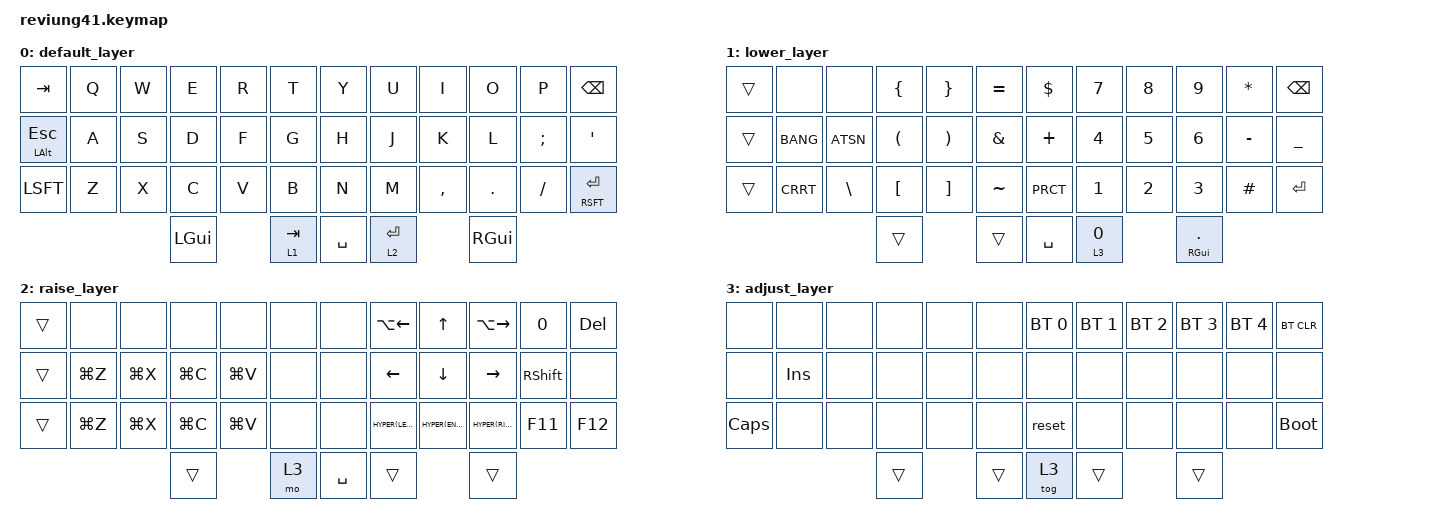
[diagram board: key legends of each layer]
/*
 * Copyright (c) 2020 The ZMK Contributors
 *
 * SPDX-License-Identifier: MIT
 */

#include <behaviors.dtsi>
#include <dt-bindings/zmk/keys.h>
#include <dt-bindings/zmk/bt.h>
#include <dt-bindings/zmk/rgb.h>

#define HYPER(code) LC(LS(LA(LG(code))))

/
{
    behaviors {
        hm: homerow_mods {
            compatible = "zmk,behavior-hold-tap";
            label = "HOMEROW_MODS";
            #binding-cells = <2>;
            tapping-term-ms = <185>;
            quick_tap_ms = <0>;
            flavor = "tap-preferred";
            bindings = <&kp>, <&kp>;
        };
        
         lr: layer_return {
            compatible = "zmk,behavior-hold-tap";
            label = "LAYER_RETURN";
            #binding-cells = <2>;
            tapping-term-ms = <200>;
            flavor = "hold-preferred";
            quick_tap_ms = <200>;
            bindings = <&mo>, <&kp>;
        };
        
    };


        keymap {
                compatible = "zmk,keymap";

                default_layer {
// -------------------------------------------------------------------------------------
// |  TAB |  Q  |  W  |  E  |  R  |  T  |   |  Y  |  U   |  I  |  O  |  P  |   BKSP    |
// | ALT(ESC) |  A  |  S  |  D  |  F  |  G  |   |  H  |  J   |  K  |  L  |  ;  | ' |
// | SHFT |  Z  |  X  |  C  |  V  |  B  |   |  N  |  M   |  ,  |  .  |  /  | SHFT(RET) |
//                         | CMD | LWR | SPC | RSE  | CMD |
                        bindings = <
   &kp TAB  &kp Q &kp W &kp E &kp R &kp T   &kp Y &kp U  &kp I    &kp O   &kp P    &kp BKSP
   &mt LALT ESC &kp A &kp S &kp D &kp F &kp G   &kp H &kp J  &kp K    &kp L   &kp SCLN &kp QUOT
   &kp LSFT &kp Z &kp X &kp C &kp V &kp B   &kp N &kp M  &kp CMMA &kp DOT &kp FSLH &mt RSFT RET
                        &kp LGUI  &lr 1 TAB &kp SPC  &lr 2 RET &kp RGUI
                        >;
                };

                lower_layer {
// ----------------------------------------------------------------------------------
// |    |     |     |  {  |  }  |  =  |   |  $  |  7  |  8  |  9  |  *  |     |
// |    |  !  |  @  |  (  |  )  |  &  |   |  +  |  4  |  5  |  6  |  -  |  _  |
// |    |  ^  |  \  |  [  |  ]  |  ~  |   |  %  |  1  |  2  |  3  |  #  | RTN |
//                       |     |     | SPC | ADJ(0) | cmd(.)    |
//                    
//  OLD SHIT FOR REFERENCE
//   bindings = <
//   &trans &kp NUM_1 &kp NUM_2 &kp NUM_3 &kp NUM_4 &kp NUM_5     &kp NUM_6 &kp NUM_7 &kp NUM_8 &kp NUM_9 &kp NUM_0 &kp BKSP
//   &trans &kp BANG  &kp ATSN &kp HASH &kp DLLR &kp PRCT         &kp CRRT &kp AMPS &kp STAR &kp LPRN &kp RPRN &kp MINUS
//   &trans &trans &kp BSLH &kp PIPE &kp LBKT &kp RBKT            &trans &kp EQUAL &kp PLUS  &kp DOT &kp TILDE &kp UNDER
 //                             &trans      &trans       &kp RET        &mt 3 NUM_0       &trans
 //                       >;
  //              };

                bindings = <
   &trans &none     &none      &kp LBRC &kp RBRC &kp EQUAL         &kp DLLR &kp NUM_7 &kp NUM_8 &kp NUM_9 &kp STAR &kp BKSP
   &trans &kp BANG  &kp ATSN   &kp LPRN &kp RPRN &kp AMPS         &kp PLUS &kp NUM_4 &kp NUM_5 &kp NUM_6 &kp MINUS &kp UNDER
   &trans &kp CRRT  &kp BSLH  &kp LBKT &kp RBKT &kp TILDE        &kp PRCT &kp NUM_1 &kp NUM_2  &kp NUM_3 &kp HASH &kp RET
                              &trans      &trans       &kp SPC        &lt 3 NUM_0       &mt RGUI DOT
                        >;
                };

                raise_layer {
// -----------------------------------------------------------------------------------------
// |    |     |     |     |     |     |   |     | A(L)|  UP | A(R) |     | DEL |
// |    |Undo | Cut | copy|paste|     |   |     | L   |   D |  R   |shift|     |
// |    |     |     |     |     |     |   |     | H(L)| H(Rtn)|H(R)|     |     |
//                       |     | ADJ | SPACE |    |     |
                        bindings = <
   &trans &none      &none      &none      &none         &none         &none &kp LA(LEFT) &kp UP &kp LA(RIGHT) &kp NUM_0 &kp DEL
   &trans &kp LG(Z)  &kp LG(X)  &kp LG(C)  &kp LG(V)     &none         &none    &kp LEFT    &kp DOWN    &kp RIGHT   &kp RSHFT    &none
   &trans &kp LG(Z)  &kp LG(X)  &kp LG(C)  &kp LG(V)     &none         &none    &kp HYPER(LEFT)   &kp HYPER(ENTER)  &kp  HYPER(RIGHT)  &kp F11   &kp F12
                                &trans      &mo 3       &kp SPC        &trans      &trans
                        >;
                };

                adjust_layer {
// -----------------------------------------------------------------------------------------
// |          |          |          |          |    |         |   |  BT1  | BT2 | BT3 | BT4 | BT5 | BT CLR |
// |          |INSERT    |          |          |    |         |   |       |     |     |     |     |        |
// | CAPSLOCK |          |          |          |    |         |   | RESET |     |     |     |     |BOOTLOAD|
//                                              |     |     |     |     |     |
                        bindings = <
   &none           &none           &none           &none           &none &none              &bt BT_SEL 0 &bt BT_SEL 1 &bt BT_SEL 2 &bt BT_SEL 3 &bt BT_SEL 4 &bt BT_CLR
   &none           &kp INSERT           &none           &none           &none &none              &none        &none        &none        &none        &none        &none
   &kp CAPS           &none           &none           &none           &none &none              &reset       &none        &none        &none        &none        &bootloader 
                                                             &trans      &trans       &tog 3        &trans      &trans
                        >;
                };
        };
};
